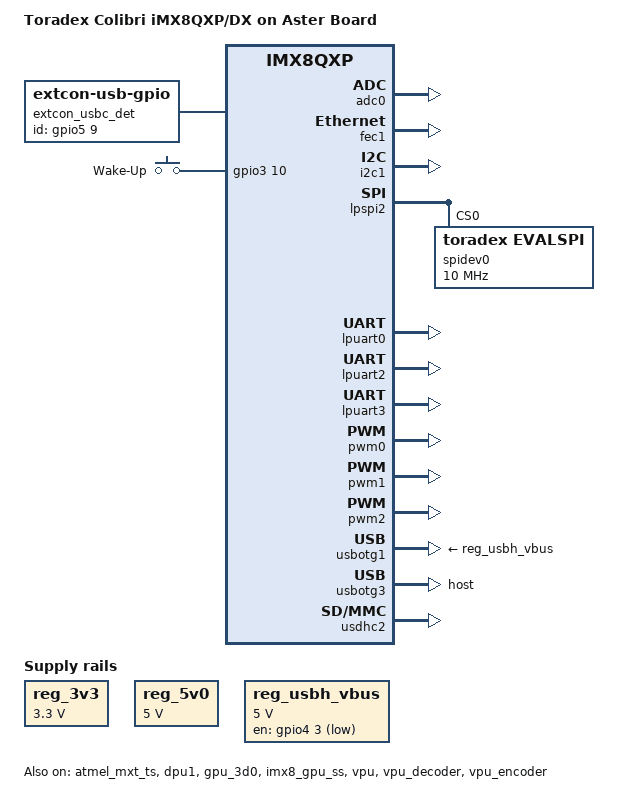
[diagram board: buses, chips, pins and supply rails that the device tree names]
// SPDX-License-Identifier: GPL-2.0+ OR X11
/*
 * Copyright 2018-2019 Toradex
 */

/dts-v1/;

#include "fsl-imx8qxp-colibri.dtsi"

/ {
	model = "Toradex Colibri iMX8QXP/DX on Aster Board";
	compatible = "toradex,colibri_imx8qxp-aster", \
			"toradex,colibri-imx8qxp", "fsl,imx8qxp";

	display-subsystem {
		status = "okay";
	};

	extcon_usbc_det: usbc_det {
		compatible = "linux,extcon-usb-gpio";
		debounce = <25>;
		id-gpio = <&gpio5 9 GPIO_ACTIVE_HIGH>;
		pinctrl-names = "default";
		pinctrl-0 = <&pinctrl_usbc_det>;
	};

	gpio-keys {
		compatible = "gpio-keys";
		pinctrl-names = "default";
		pinctrl-0 = <&pinctrl_gpiokeys>;

		wakeup {
			label = "Wake-Up";
			gpios = <&gpio3 10 GPIO_ACTIVE_HIGH>;
			linux,code = <KEY_WAKEUP>;
			debounce-interval = <10>;
			wakeup-source;
		};
	};

	regulators {
		reg_3v3: regulator-3v3 {
			compatible = "regulator-fixed";
			regulator-name = "3.3V";
			regulator-min-microvolt = <3300000>;
			regulator-max-microvolt = <3300000>;
		};

		reg_5v0: regulator-5v0 {
			compatible = "regulator-fixed";
			regulator-name = "5V";
			regulator-min-microvolt = <5000000>;
			regulator-max-microvolt = <5000000>;
		};

		reg_usbh_vbus: regulator-usbh-vbus {
			compatible = "regulator-fixed";
			pinctrl-names = "default";
			pinctrl-0 = <&pinctrl_usbh1_reg>;
			regulator-name = "usbh_vbus";
			regulator-min-microvolt = <5000000>;
			regulator-max-microvolt = <5000000>;
			gpio = <&gpio4 3 GPIO_ACTIVE_LOW>;
			regulator-always-on;
		};
	};
};

/* Colibri Analogue Inputs */
&adc0 {
	status = "okay";
};

&atmel_mxt_ts {
	status = "okay";
};

&dpu1 {
	status = "okay";
};

/* Colibri Ethernet */
&fec1 {
	status = "okay";
};

&gpu_3d0 {
	status = "okay";
};

/* Colibri I2C */
&i2c1 {
	status = "okay";
};

&iomuxc {
	pinctrl-names = "default";
	pinctrl-0 = <&pinctrl_hog0>, <&pinctrl_hog2>;
};

&imx8_gpu_ss {
	status = "okay";
};

/* Colibri SPI */
&lpspi2 {
	status = "okay";

	spidev0: spidev@0 {
		compatible = "toradex,evalspi";
		reg = <0>;
		spi-max-frequency = <10000000>;
	};
};

/* Colibri UART_B */
&lpuart0 {
	status = "okay";
};

/* Colibri UART_C */
&lpuart2 {
	status = "okay";
};

/* Colibri UART_A */
&lpuart3 {
	status= "okay";
};

/* Colibri PWM_A */
&pwm_adma_lcdif {
	status = "okay";
};

/* Colibri PWM_B */
&pwm0 {
	status = "okay";
};

/* Colibri PWM_C */
&pwm1 {
	status = "okay";
};

/* Colibri PWM_D */
&pwm2 {
	status = "okay";
};

/*
 * Lower USB port, shared with micro-usb-connector
 * The micro-usb connector may only be used in USB client mode.
 */
&usbotg1 {
	extcon = <&extcon_usbc_det &extcon_usbc_det>;
	vbus-supply = <&reg_usbh_vbus>;
	srp-disable;
	hnp-disable;
	adp-disable;
	power-polarity-active-high;
	disable-over-current;
	status = "okay";
};

/* Upper USB port */
&usbotg3 {
	dr_mode = "host";
	status = "okay";
};

/* Colibri SDCard */
&usdhc2 {
	status = "okay";
};

&vpu {
	status = "okay";
};

&vpu_decoder {
	status = "okay";
};

&vpu_encoder {
	status = "okay";
};
